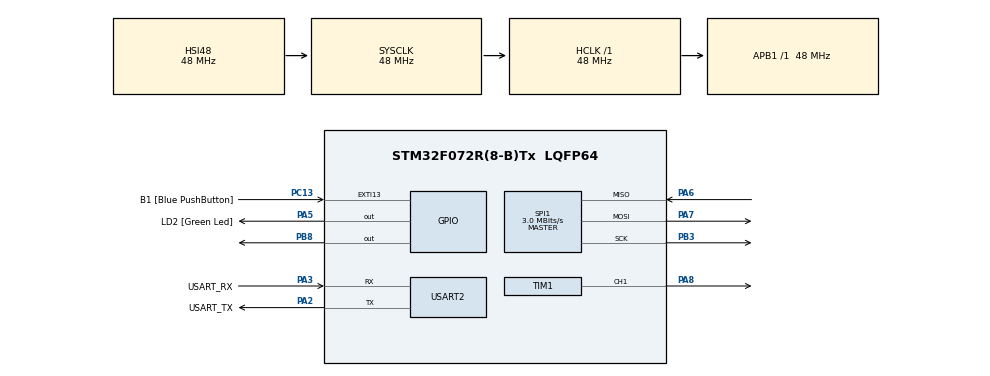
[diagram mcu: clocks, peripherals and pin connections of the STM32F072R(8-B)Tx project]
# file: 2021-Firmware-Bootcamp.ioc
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Mcu.Family=STM32F0
Mcu.Name=STM32F072R(8-B)Tx
Mcu.Package=LQFP64
PA13.GPIO_Label=TMS
PA13.Mode=Serial_Wire
PA13.Signal=SYS_SWDIO
PA14.GPIO_Label=TCK
PA14.Mode=Serial_Wire
PA14.Signal=SYS_SWCLK
PA2.GPIO_Label=USART_TX
PA2.GPIO_Mode=GPIO_MODE_AF_PP
PA2.GPIO_PuPd=GPIO_NOPULL
PA2.GPIO_Speed=GPIO_SPEED_FREQ_LOW
PA2.Mode=Asynchronous
PA2.Signal=USART2_TX
PA3.GPIO_Label=USART_RX
PA3.GPIO_Mode=GPIO_MODE_AF_PP
PA3.GPIO_PuPd=GPIO_NOPULL
PA3.GPIO_Speed=GPIO_SPEED_FREQ_LOW
PA3.Mode=Asynchronous
PA3.Signal=USART2_RX
PA5.GPIO_Label=LD2 [Green Led]
PA5.GPIO_Mode=GPIO_MODE_OUTPUT_PP
PA5.GPIO_PuPd=GPIO_NOPULL
PA5.GPIO_Speed=GPIO_SPEED_FREQ_LOW
PA5.Signal=GPIO_Output
PA6.Mode=Full_Duplex_Master
PA6.Signal=SPI1_MISO
PA7.Mode=Full_Duplex_Master
PA7.Signal=SPI1_MOSI
PA8.Signal=S_TIM1_CH1
PB3.Mode=Full_Duplex_Master
PB3.Signal=SPI1_SCK
PB8.Signal=GPIO_Output
PC13.GPIO_Label=B1 [Blue PushButton]
PC13.GPIO_ModeDefaultEXTI=GPIO_MODE_IT_FALLING
PC13.Signal=GPXTI13
PC14-OSC32_IN.Mode=LSE-External-Oscillator
PC14-OSC32_IN.Signal=RCC_OSC32_IN
PC15-OSC32_OUT.Mode=LSE-External-Oscillator
PC15-OSC32_OUT.Signal=RCC_OSC32_OUT
PF0-OSC_IN.Mode=HSE-External-Clock-Source
PF0-OSC_IN.Signal=RCC_OSC_IN
PF1-OSC_OUT.Signal=RCC_OSC_OUT
ProjectManager.HeapSize=0x200
ProjectManager.StackSize=0x400
ProjectManager.TargetToolchain=STM32CubeIDE
RCC.AHBFreq_Value=48000000
RCC.APB1Freq_Value=48000000
RCC.APB1TimFreq_Value=48000000
RCC.FLatency-AdvancedSettings=FLASH_LATENCY_1
RCC.HCLKFreq_Value=48000000
RCC.PLLDivider=RCC_PREDIV_DIV2
RCC.PLLMUL=RCC_PLL_MUL12
RCC.PREFETCH_ENABLE-AdvancedSettings=1
RCC.SYSCLKFreq_VALUE=48000000
RCC.SYSCLKSource=RCC_SYSCLKSOURCE_HSI48
SH.S_TIM1_CH1.0=TIM1_CH1,PWM Generation1 CH1
SPI1.BaudRatePrescaler=SPI_BAUDRATEPRESCALER_16
SPI1.CalculateBaudRate=3.0 MBits/s
SPI1.DataSize=SPI_DATASIZE_8BIT
SPI1.Direction=SPI_DIRECTION_2LINES
SPI1.Mode=SPI_MODE_MASTER
SPI1.VirtualType=VM_MASTER
TIM1.Channel-PWM\ Generation1\ CH1=TIM_CHANNEL_1
TIM1.Prescaler=14
TIM1.Pulse-PWM\ Generation1\ CH1=3277
USART2.VirtualMode=VM_ASYNC
USART2.VirtualMode-Asynchronous=VM_ASYNC
VP_TIM1_VS_ClockSourceINT.Mode=Internal
board=NUCLEO-F072RB

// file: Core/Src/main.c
/* USER CODE BEGIN Header */
/**
  ******************************************************************************
  * @file           : main.c
  * @brief          : Main program body
  ******************************************************************************
  * @attention
  *
  * Copyright (c) 2024 STMicroelectronics.
  * All rights reserved.
  *
  * This software is licensed under terms that can be found in the LICENSE file
  * in the root directory of this software component.
  * If no LICENSE file comes with this software, it is provided AS-IS.
  *
  ******************************************************************************
  */
/* USER CODE END Header */
#include "main.h"
#include "spi.h"
#include "tim.h"
#include "usart.h"
#include "gpio.h"

/* USER CODE BEGIN PV */
uint16_t cs_pin = GPIO_PIN_8; // will use this pin as CS

uint8_t transmit [] = {0b00000001,
		0b10000000,
		0b00000000}; //channel 0

uint8_t receive [] = {0,0,0};

uint16_t adc_val = 0;

float adc_max_val = 1023;
float min_range = 56470 * 0.05;
float max_range = 56470 * 0.1;

uint16_t adc_on_counts = 0;

/* USER CODE END PV */

void SystemClock_Config(void);

int main(void)
{

  /* MCU Configuration--------------------------------------------------------*/

  /* Reset of all peripherals, Initializes the Flash interface and the Systick. */
  HAL_Init();

  /* Configure the system clock */
  SystemClock_Config();

  /* Initialize all configured peripherals */
  MX_GPIO_Init();
  MX_USART2_UART_Init();
  MX_SPI1_Init();
  MX_TIM1_Init();

  /* Infinite loop */
  /* USER CODE BEGIN WHILE */
  while (1)
  {

	  //ADC Communication

	  //need to bring CS line from high then back to low to obtain data
	  HAL_GPIO_WritePin(GPIOB, cs_pin, GPIO_PIN_SET);
	  HAL_GPIO_WritePin(GPIOB, cs_pin, GPIO_PIN_RESET);

	  //send and receive data; will transmit and receive data from the 8 bit sets created
	  // each set is 8 bits
	  // frequency is 50 Hz which is 20 ms
	  HAL_SPI_TransmitReceive(&hspi1, transmit, receive, 8, 20);

	  //set pin back to low to stop data
	  HAL_GPIO_WritePin(GPIOB, cs_pin, GPIO_PIN_RESET);

	  adc_val = (receive[1] | 0b0000000000)<<8  | receive[2];

	  //converting ADC to PWM

	  //convert ADC to counts
	  adc_on_counts = ((adc_val/adc_max_val)*(max_range - min_range)) + min_range;

	  //set the compare register
	  HAL_TIM_SET_COMPARE(&htim1,TIM_CHANNEL_1, adc_val);

    /* USER CODE END WHILE */

    /* USER CODE BEGIN 3 */

	  HAL_Delay(10);
  }
  /* USER CODE END 3 */
}

void SystemClock_Config(void)
{
  RCC_OscInitTypeDef RCC_OscInitStruct = {0};
  RCC_ClkInitTypeDef RCC_ClkInitStruct = {0};
  RCC_PeriphCLKInitTypeDef PeriphClkInit = {0};

  /** Initializes the RCC Oscillators according to the specified parameters
  * in the RCC_OscInitTypeDef structure.
  */
  RCC_OscInitStruct.OscillatorType = RCC_OSCILLATORTYPE_HSI48;
  RCC_OscInitStruct.HSI48State = RCC_HSI48_ON;
  RCC_OscInitStruct.PLL.PLLState = RCC_PLL_NONE;
  if (HAL_RCC_OscConfig(&RCC_OscInitStruct) != HAL_OK)
  {
    Error_Handler();
  }

  /** Initializes the CPU, AHB and APB buses clocks
  */
  RCC_ClkInitStruct.ClockType = RCC_CLOCKTYPE_HCLK|RCC_CLOCKTYPE_SYSCLK
                              |RCC_CLOCKTYPE_PCLK1;
  RCC_ClkInitStruct.SYSCLKSource = RCC_SYSCLKSOURCE_HSI48;
  RCC_ClkInitStruct.AHBCLKDivider = RCC_SYSCLK_DIV1;
  RCC_ClkInitStruct.APB1CLKDivider = RCC_HCLK_DIV1;

  if (HAL_RCC_ClockConfig(&RCC_ClkInitStruct, FLASH_LATENCY_1) != HAL_OK)
  {
    Error_Handler();
  }
  PeriphClkInit.PeriphClockSelection = RCC_PERIPHCLK_USART2;
  PeriphClkInit.Usart2ClockSelection = RCC_USART2CLKSOURCE_PCLK1;
  if (HAL_RCCEx_PeriphCLKConfig(&PeriphClkInit) != HAL_OK)
  {
    Error_Handler();
  }
}

void Error_Handler(void)
{
  __disable_irq();
  while (1)
  {
  }
}
